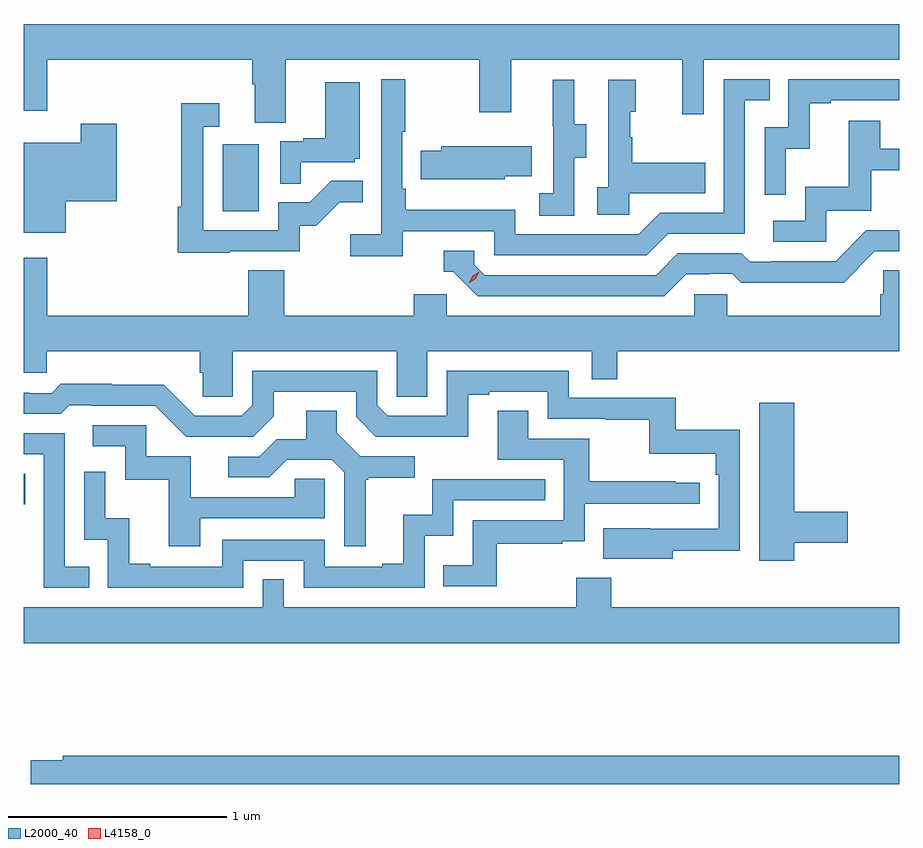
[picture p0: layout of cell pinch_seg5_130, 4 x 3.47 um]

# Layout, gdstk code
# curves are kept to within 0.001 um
import gdstk
lib = gdstk.Library(unit=1e-6, precision=1e-09)
def R(c, l, rs):  # rectangles x0, y0, x1, y1
    for r in rs: c.add(gdstk.rectangle(r[:2], r[2:], *l))
def P(c, l, *ps):  # polygons
    for p in ps: c.add(gdstk.Polygon(p, *l))
L2000_40 = (2000, 40)
L4158_0 = (4158, 0)

pinch_seg5_130 = lib.new_cell('pinch_seg5_130')
R(pinch_seg5_130, L2000_40, [(1055.297,886.697,1055.303,886.837), (1056.206,888.036,1056.37,888.343)])
P(pinch_seg5_130, L2000_40, [(1055.297,888.495),(1055.405,888.495),(1055.405,888.728),(1056.341,888.728),(1056.341,888.616),(1056.353,888.616),(1056.353,888.442),(1056.493,888.442),(1056.493,888.728),(1057.378,888.728),(1057.378,888.489),(1057.525,888.489),(1057.525,888.728),(1058.306,888.728),(1058.306,888.48),(1058.403,888.48),(1058.403,888.728),(1059.297,888.728),(1059.297,888.892),(1055.297,888.892)],
  [(1057.028,887.946),(1057.446,887.946),(1057.446,887.835),(1058.143,887.835),(1058.242,887.934),(1058.592,887.934),(1058.592,888.543),(1058.705,888.543),(1058.705,888.639),(1058.496,888.639),(1058.496,888.03),(1058.205,888.03),(1058.106,887.931),(1057.542,887.931),(1057.542,888.043),(1057.043,888.043),(1057.043,888.139),(1057.026,888.139),(1057.026,888.4),(1057.039,888.4),(1057.039,888.64),(1056.93,888.64),(1056.93,887.932),(1056.789,887.932),(1056.789,887.83),(1057.028,887.83)],
  [(1058.778,888.323),(1058.888,888.323),(1058.888,888.531),(1058.983,888.531),(1058.983,888.543),(1059.297,888.543),(1059.297,888.639),(1058.79,888.639),(1058.79,888.42),(1058.682,888.42),(1058.682,888.111),(1058.778,888.111)],
  [(1057.812,888.28),(1057.867,888.28),(1057.867,888.435),(1057.813,888.435),(1057.813,888.637),(1057.715,888.637),(1057.715,888.423),(1057.716,888.423),(1057.716,888.119),(1057.653,888.119),(1057.653,888.016),(1057.812,888.016)],
  [(1058.064,888.119),(1058.411,888.119),(1058.411,888.259),(1058.077,888.259),(1058.077,888.374),(1058.067,888.374),(1058.067,888.492),(1058.092,888.492),(1058.092,888.637),(1057.968,888.637),(1057.968,888.146),(1057.917,888.146),(1057.917,888.021),(1058.064,888.021)],
  [(1056.563,888.261),(1056.81,888.261),(1056.81,888.276),(1056.832,888.276),(1056.832,888.625),(1056.674,888.625),(1056.674,888.37),(1056.575,888.37),(1056.575,888.357),(1056.468,888.357),(1056.468,888.163),(1056.563,888.163)],
  [(1056.239,887.853),(1056.558,887.853),(1056.558,887.97),(1056.634,887.97),(1056.741,888.077),(1056.845,888.077),(1056.845,888.176),(1056.701,888.176),(1056.603,888.078),(1056.459,888.078),(1056.459,887.949),(1056.117,887.949),(1056.117,888.423),(1056.19,888.423),(1056.19,888.529),(1056.016,888.529),(1056.016,888.056),(1056.001,888.056),(1056.001,887.848),(1056.239,887.848)],
  [(1058.964,888.039),(1059.169,888.039),(1059.169,888.225),(1059.297,888.225),(1059.297,888.321),(1059.211,888.321),(1059.211,888.451),(1059.067,888.451),(1059.067,888.148),(1058.868,888.148),(1058.868,887.994),(1058.721,887.994),(1058.721,887.898),(1058.964,887.898)],
  [(1055.488,888.083),(1055.722,888.083),(1055.722,888.436),(1055.557,888.436),(1055.557,888.349),(1055.297,888.349),(1055.297,887.939),(1055.488,887.939)],
  [(1057.494,888.197),(1057.619,888.197),(1057.619,888.334),(1057.205,888.334),(1057.205,888.312),(1057.111,888.312),(1057.111,888.183),(1057.222,888.183),(1057.222,888.182),(1057.494,888.182)],
  [(1058.323,887.748),(1058.43,887.748),(1058.43,887.751),(1058.533,887.751),(1058.575,887.709),(1058.808,887.709),(1058.808,887.711),(1059.044,887.711),(1059.186,887.853),(1059.297,887.853),(1059.297,887.949),(1059.147,887.949),(1059.006,887.808),(1058.713,887.808),(1058.713,887.805),(1058.614,887.805),(1058.575,887.844),(1058.286,887.844),(1058.187,887.745),(1057.404,887.745),(1057.356,887.793),(1057.356,887.856),(1057.217,887.856),(1057.217,887.76),(1057.26,887.76),(1057.371,887.649),(1058.224,887.649)],
  [(1056.252,887.396),(1057.002,887.396),(1057.002,887.188),(1057.141,887.188),(1057.141,887.396),(1057.893,887.396),(1057.893,887.269),(1058.009,887.269),(1058.009,887.396),(1059.297,887.396),(1059.297,887.768),(1059.223,887.768),(1059.223,887.658),(1059.209,887.658),(1059.209,887.56),(1058.511,887.56),(1058.511,887.658),(1058.361,887.658),(1058.361,887.56),(1057.23,887.56),(1057.23,887.658),(1057.079,887.658),(1057.079,887.56),(1056.488,887.56),(1056.488,887.768),(1056.323,887.768),(1056.323,887.56),(1055.405,887.56),(1055.405,887.824),(1055.297,887.824),(1055.297,887.298),(1055.403,887.298),(1055.403,887.396),(1056.101,887.396),(1056.101,887.298),(1056.115,887.298),(1056.115,887.188),(1056.252,887.188)],
  [(1058.263,886.486),(1058.568,886.486),(1058.568,887.038),(1058.275,887.038),(1058.275,887.184),(1057.788,887.184),(1057.788,887.307),(1057.23,887.307),(1057.23,887.103),(1056.96,887.103),(1056.912,887.151),(1056.912,887.307),(1056.342,887.307),(1056.342,887.151),(1056.294,887.103),(1056.078,887.103),(1055.936,887.245),(1055.7,887.245),(1055.7,887.248),(1055.467,887.248),(1055.425,887.205),(1055.322,887.205),(1055.322,887.208),(1055.297,887.208),(1055.297,887.112),(1055.467,887.112),(1055.506,887.151),(1055.605,887.151),(1055.605,887.148),(1055.898,887.148),(1056.039,887.007),(1056.345,887.007),(1056.439,887.101),(1056.439,887.211),(1056.816,887.211),(1056.816,887.097),(1056.906,887.007),(1057.327,887.006),(1057.327,887.199),(1057.423,887.199),(1057.423,887.211),(1057.692,887.211),(1057.692,887.088),(1057.957,887.088),(1057.957,887.083),(1058.154,887.083),(1058.154,886.928),(1058.459,886.928),(1058.459,886.832),(1058.472,886.832),(1058.472,886.587),(1057.945,886.588),(1057.945,886.448),(1058.263,886.448)],
  [(1058.818,886.522),(1059.061,886.522),(1059.061,886.664),(1058.818,886.664),(1058.818,887.161),(1058.657,887.161),(1058.657,886.44),(1058.818,886.44)],
  [(1056.859,886.809),(1056.871,886.809),(1056.871,886.82),(1057.084,886.82),(1057.084,886.917),(1056.834,886.917),(1056.727,887.024),(1056.727,887.126),(1056.587,887.126),(1056.587,886.994),(1056.452,886.994),(1056.372,886.914),(1056.231,886.914),(1056.231,886.821),(1056.418,886.821),(1056.499,886.902),(1056.705,886.902),(1056.762,886.845),(1056.762,886.506),(1056.859,886.506)],
  [(1057.459,886.518),(1057.757,886.518),(1057.757,886.529),(1057.86,886.529),(1057.86,886.701),(1058.386,886.701),(1058.386,886.797),(1058.273,886.797),(1058.273,886.802),(1057.88,886.802),(1057.88,886.998),(1057.603,886.998),(1057.603,887.126),(1057.463,887.126),(1057.463,886.902),(1057.764,886.902),(1057.764,886.626),(1057.348,886.626),(1057.348,886.42),(1057.213,886.42),(1057.213,886.323),(1057.459,886.323)],
  [(1056.103,886.635),(1056.672,886.635),(1056.672,886.815),(1056.535,886.815),(1056.535,886.731),(1056.061,886.731),(1056.061,886.917),(1055.856,886.917),(1055.856,887.058),(1055.613,887.058),(1055.613,886.962),(1055.76,886.962),(1055.76,886.809),(1055.959,886.809),(1055.959,886.506),(1056.103,886.506)],
  [(1055.597,886.413),(1055.484,886.413),(1055.484,887.022),(1055.297,887.022),(1055.297,886.926),(1055.388,886.926),(1055.388,886.317),(1055.597,886.317)],
  [(1056.3,886.44),(1056.576,886.44),(1056.576,886.317),(1057.128,886.317),(1057.128,886.553),(1057.26,886.553),(1057.26,886.716),(1057.679,886.716),(1057.679,886.812),(1057.164,886.812),(1057.164,886.651),(1057.031,886.651),(1057.031,886.426),(1056.935,886.426),(1056.935,886.413),(1056.672,886.413),(1056.672,886.536),(1056.204,886.536),(1056.204,886.413),(1055.875,886.413),(1055.875,886.426),(1055.78,886.426),(1055.78,886.634),(1055.67,886.634),(1055.67,886.846),(1055.574,886.846),(1055.574,886.536),(1055.682,886.536),(1055.682,886.317),(1056.3,886.317)],
  [(1059.297,886.228),(1057.982,886.228),(1057.982,886.363),(1057.822,886.363),(1057.822,886.228),(1056.486,886.228),(1056.486,886.355),(1056.39,886.355),(1056.39,886.228),(1055.297,886.228),(1055.297,886.064),(1059.297,886.064)],
  [(1059.297,885.548),(1055.476,885.548),(1055.476,885.528),(1055.33,885.528),(1055.33,885.42),(1059.297,885.42)])
P(pinch_seg5_130, L4158_0, [(1057.331,887.708),(1057.331,887.708),(1057.348,887.741),(1057.378,887.76),(1057.379,887.76),(1057.379,887.76),(1057.362,887.728),(1057.331,887.708)])

lib.write_gds('pinch_seg5_130.gds')
